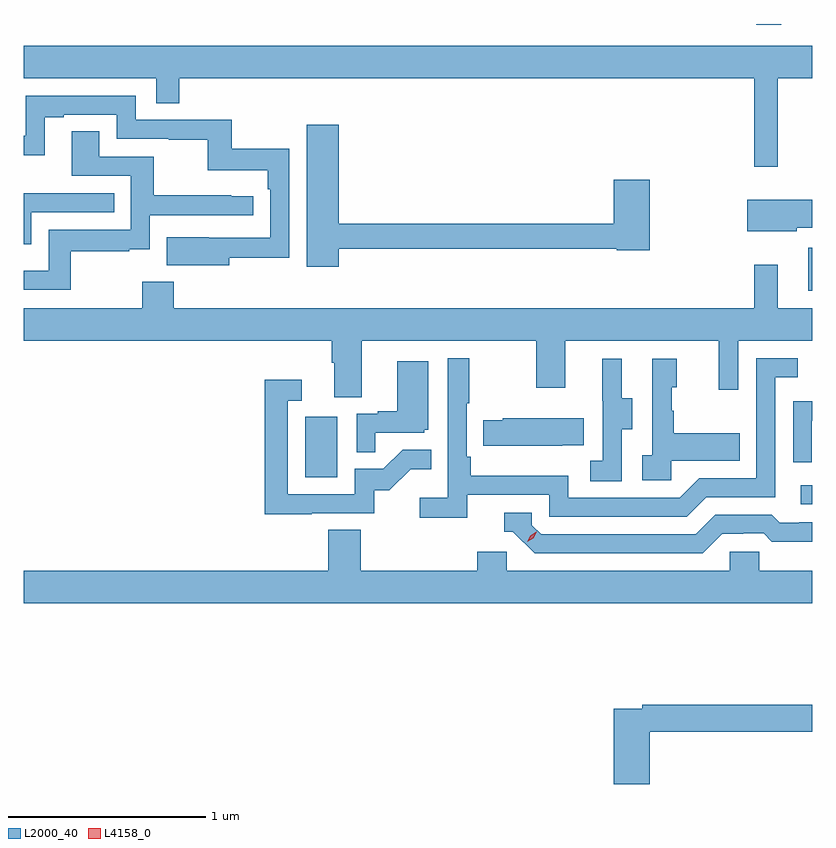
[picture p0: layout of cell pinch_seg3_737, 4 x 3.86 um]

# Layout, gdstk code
import gdstk
lib = gdstk.Library(unit=1e-6, precision=1e-09)
def R(c, l, rs):  # rectangles x0, y0, x1, y1
    for r in rs: c.add(gdstk.rectangle(r[:2], r[2:], *l))
def P(c, l, *ps):  # polygons
    for p in ps: c.add(gdstk.Polygon(p, *l))
L2000_40 = (2000, 40)
L4158_0 = (4158, 0)

pinch_seg3_737 = lib.new_cell('pinch_seg3_737')
R(pinch_seg3_737, L2000_40, [(864.693,730.722,864.751,730.818), (862.178,730.86,862.342,731.167), (864.731,731.805,864.751,732.024), (864.466,733.155,864.595,733.159)])
P(pinch_seg3_737, L2000_40, [(864.577,732.884),(864.751,732.884),(864.751,733.048),(860.751,733.048),(860.751,732.884),(861.423,732.884),(861.423,732.757),(861.539,732.757),(861.539,732.884),(864.456,732.884),(864.456,732.435),(864.577,732.435)],
  [(861.793,731.974),(862.098,731.974),(862.098,732.526),(861.805,732.526),(861.805,732.672),(861.318,732.672),(861.318,732.795),(860.76,732.795),(860.76,732.591),(860.751,732.591),(860.751,732.494),(860.857,732.494),(860.857,732.687),(860.953,732.687),(860.953,732.699),(861.222,732.699),(861.222,732.576),(861.487,732.576),(861.487,732.571),(861.684,732.571),(861.684,732.416),(861.989,732.416),(861.989,732.32),(862.002,732.32),(862.002,732.075),(861.689,732.075),(861.689,732.076),(861.475,732.076),(861.475,731.936),(861.793,731.936)],
  [(862.348,732.018),(863.76,732.018),(863.76,732.01),(863.927,732.01),(863.927,732.37),(863.744,732.37),(863.744,732.146),(862.348,732.146),(862.348,732.649),(862.187,732.649),(862.187,731.928),(862.348,731.928)],
  [(860.989,732.006),(861.287,732.006),(861.287,732.017),(861.39,732.017),(861.39,732.189),(861.916,732.189),(861.916,732.285),(861.803,732.285),(861.803,732.29),(861.41,732.29),(861.41,732.486),(861.133,732.486),(861.133,732.614),(860.993,732.614),(860.993,732.39),(861.294,732.39),(861.294,732.114),(860.878,732.114),(860.878,731.908),(860.751,731.908),(860.751,731.811),(860.989,731.811)],
  [(860.79,732.204),(861.209,732.204),(861.209,732.3),(860.751,732.3),(860.751,732.041),(860.79,732.041)],
  [(864.672,732.125),(864.751,732.125),(864.751,732.268),(864.422,732.268),(864.422,732.107),(864.672,732.107)],
  [(862.465,731.552),(863.35,731.552),(863.35,731.313),(863.497,731.313),(863.497,731.552),(864.278,731.552),(864.278,731.304),(864.375,731.304),(864.375,731.552),(864.751,731.552),(864.751,731.716),(864.577,731.716),(864.577,731.938),(864.456,731.938),(864.456,731.716),(861.512,731.716),(861.512,731.851),(861.352,731.851),(861.352,731.716),(860.751,731.716),(860.751,731.552),(862.313,731.552),(862.313,731.44),(862.325,731.44),(862.325,731.266),(862.465,731.266)],
  [(863,730.77),(863.418,730.77),(863.418,730.659),(864.115,730.659),(864.214,730.758),(864.564,730.758),(864.564,731.367),(864.677,731.367),(864.677,731.463),(864.468,731.463),(864.468,730.854),(864.177,730.854),(864.078,730.755),(863.514,730.755),(863.514,730.867),(863.018,730.867),(863.018,730.963),(862.998,730.963),(862.998,731.236),(863.011,731.236),(863.011,731.464),(862.902,731.464),(862.902,730.756),(862.761,730.756),(862.761,730.654),(863,730.654)],
  [(863.784,731.104),(863.839,731.104),(863.839,731.259),(863.785,731.259),(863.785,731.461),(863.687,731.461),(863.687,731.247),(863.688,731.247),(863.688,730.943),(863.625,730.943),(863.625,730.84),(863.784,730.84)],
  [(864.036,730.943),(864.383,730.943),(864.383,731.083),(864.049,731.083),(864.049,731.198),(864.039,731.198),(864.039,731.316),(864.064,731.316),(864.064,731.461),(863.94,731.461),(863.94,730.97),(863.889,730.97),(863.889,730.845),(864.036,730.845)],
  [(862.535,731.085),(862.782,731.085),(862.782,731.1),(862.804,731.1),(862.804,731.449),(862.646,731.449),(862.646,731.194),(862.547,731.194),(862.547,731.181),(862.44,731.181),(862.44,730.987),(862.535,730.987)],
  [(862.211,730.677),(862.53,730.677),(862.53,730.794),(862.606,730.794),(862.713,730.901),(862.817,730.901),(862.817,731),(862.673,731),(862.575,730.902),(862.431,730.902),(862.431,730.773),(862.089,730.773),(862.089,731.247),(862.162,731.247),(862.162,731.353),(861.973,731.353),(861.973,730.672),(862.211,730.672)],
  [(864.75,731.147),(864.751,731.147),(864.751,731.244),(864.654,731.244),(864.654,730.935),(864.75,730.935)],
  [(863.483,731.021),(863.591,731.021),(863.591,731.158),(863.181,731.158),(863.181,731.148),(863.083,731.148),(863.083,731.018),(863.483,731.018)],
  [(864.295,730.572),(864.402,730.572),(864.402,730.575),(864.505,730.575),(864.547,730.533),(864.751,730.533),(864.751,730.632),(864.685,730.632),(864.685,730.629),(864.586,730.629),(864.547,730.668),(864.258,730.668),(864.159,730.569),(863.376,730.569),(863.328,730.617),(863.328,730.68),(863.189,730.68),(863.189,730.584),(863.232,730.584),(863.343,730.473),(864.196,730.473)],
  [(864.751,730.384),(864.483,730.384),(864.483,730.482),(864.333,730.482),(864.333,730.384),(863.202,730.384),(863.202,730.482),(863.051,730.482),(863.051,730.384),(862.46,730.384),(862.46,730.592),(862.295,730.592),(862.295,730.384),(860.751,730.384),(860.751,730.22),(864.751,730.22)],
  [(863.927,729.568),(864.751,729.568),(864.751,729.704),(863.89,729.704),(863.89,729.684),(863.744,729.684),(863.744,729.303),(863.927,729.303)])
P(pinch_seg3_737, L4158_0, [(863.305,730.531),(863.305,730.531),(863.321,730.563),(863.352,730.582),(863.353,730.582),(863.353,730.582),(863.336,730.55),(863.305,730.531)])

lib.write_gds('pinch_seg3_737.gds')
